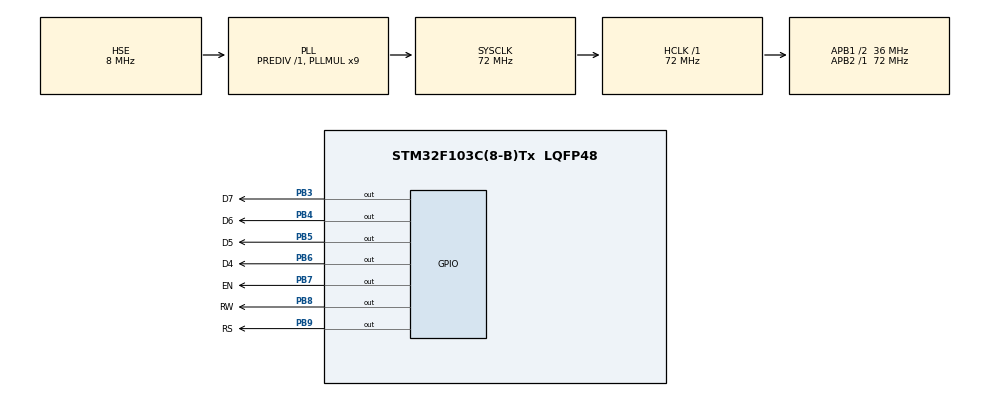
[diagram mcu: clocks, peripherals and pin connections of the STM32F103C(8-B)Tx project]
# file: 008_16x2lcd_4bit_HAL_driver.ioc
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Mcu.Family=STM32F1
Mcu.Name=STM32F103C(8-B)Tx
Mcu.Package=LQFP48
NVIC.PriorityGroup=NVIC_PRIORITYGROUP_4
PA13.Mode=Serial_Wire
PA13.Signal=SYS_JTMS-SWDIO
PA14.Mode=Serial_Wire
PA14.Signal=SYS_JTCK-SWCLK
PB3.GPIO_Label=D7
PB3.Signal=GPIO_Output
PB4.GPIO_Label=D6
PB4.Signal=GPIO_Output
PB5.GPIO_Label=D5
PB5.Signal=GPIO_Output
PB6.GPIO_Label=D4
PB6.Signal=GPIO_Output
PB7.GPIO_Label=EN
PB7.Signal=GPIO_Output
PB8.GPIO_Label=RW
PB8.Signal=GPIO_Output
PB9.GPIO_Label=RS
PB9.Signal=GPIO_Output
PD0-OSC_IN.Mode=HSE-External-Oscillator
PD0-OSC_IN.Signal=RCC_OSC_IN
PD1-OSC_OUT.Mode=HSE-External-Oscillator
PD1-OSC_OUT.Signal=RCC_OSC_OUT
ProjectManager.HeapSize=0x200
ProjectManager.StackSize=0x400
ProjectManager.TargetToolchain=STM32CubeIDE
RCC.AHBFreq_Value=72000000
RCC.APB1CLKDivider=RCC_HCLK_DIV2
RCC.APB1Freq_Value=36000000
RCC.APB1TimFreq_Value=72000000
RCC.APB2Freq_Value=72000000
RCC.APB2TimFreq_Value=72000000
RCC.HCLKFreq_Value=72000000
RCC.PLLMUL=RCC_PLL_MUL9
RCC.PLLSourceVirtual=RCC_PLLSOURCE_HSE
RCC.SYSCLKFreq_VALUE=72000000
RCC.SYSCLKSource=RCC_SYSCLKSOURCE_PLLCLK
RCC.USBFreq_Value=72000000
board=custom

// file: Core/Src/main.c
/* USER CODE BEGIN Header */
/**
  ******************************************************************************
  * @file           : main.c
  * @brief          : Main program body
  ******************************************************************************
  * @attention
  *
  * Copyright (c) 2024 STMicroelectronics.
  * All rights reserved.
  *
  * This software is licensed under terms that can be found in the LICENSE file
  * in the root directory of this software component.
  * If no LICENSE file comes with this software, it is provided AS-IS.
  *
  ******************************************************************************
  */
/* USER CODE END Header */
#include "main.h"

/* USER CODE BEGIN Includes */
#include "lcd.h"
/* USER CODE END Includes */

void SystemClock_Config(void);
static void MX_GPIO_Init(void);

int main(void)
{

  /* MCU Configuration--------------------------------------------------------*/

  /* Reset of all peripherals, Initializes the Flash interface and the Systick. */
  HAL_Init();

  /* Configure the system clock */
  SystemClock_Config();

  /* Initialize all configured peripherals */
  MX_GPIO_Init();
  /* USER CODE BEGIN 2 */
  LCD_t disp;
  disp.EN_port = EN_GPIO_Port;
  disp.EN_pin = EN_Pin;
  disp.RW_port = RW_GPIO_Port;
  disp.RW_pin = RW_Pin;
  disp.RS_port = RS_GPIO_Port;
  disp.RS_pin = RS_Pin;
  disp.D7_port = D7_GPIO_Port;
  disp.D7_pin = D7_Pin;
  disp.D6_port = D6_GPIO_Port;
  disp.D6_pin = D6_Pin;
  disp.D5_port = D5_GPIO_Port;
  disp.D5_pin = D5_Pin;
  disp.D4_port = D4_GPIO_Port;
  disp.D4_pin = D4_Pin;
  lcd_reset(&disp);
  uint8_t heart[8] = {	0b00000,
						0b01010,
						0b11111,
						0b11111,
						0b01110,
						0b00100,
						0b00000,
						0b00000	};
  /* USER CODE END 2 */

  /* Infinite loop */
  /* USER CODE BEGIN WHILE */
  while (1)
  {
	lcd_setDelay(&disp, 100);
	lcd_clearDisplay(&disp);
	lcd_setPattern(&disp, 0, heart);
	lcd_setEntryMode(&disp, 1, 0);
	lcd_displayCtrl(&disp, LCD_DISPLAY_ON);
	lcd_showCursor(&disp, LCD_SHOW_CURSOR);
	lcd_cursorBlink(&disp, LCD_BLINK_ON);
	lcd_setCursor(&disp, 0, 0);
	lcd_printMsg(&disp, "Hello World!");
	lcd_cursorShift(&disp, LCD_SHIFT_RIGHT);
	lcd_printChar(&disp, 0);
	lcd_displayShift(&disp, LCD_SHIFT_RIGHT);
	HAL_Delay(5000);
    /* USER CODE END WHILE */

  }
}

void SystemClock_Config(void)
{
  RCC_OscInitTypeDef RCC_OscInitStruct = {0};
  RCC_ClkInitTypeDef RCC_ClkInitStruct = {0};

  /** Initializes the RCC Oscillators according to the specified parameters
  * in the RCC_OscInitTypeDef structure.
  */
  RCC_OscInitStruct.OscillatorType = RCC_OSCILLATORTYPE_HSE;
  RCC_OscInitStruct.HSEState = RCC_HSE_ON;
  RCC_OscInitStruct.HSEPredivValue = RCC_HSE_PREDIV_DIV1;
  RCC_OscInitStruct.HSIState = RCC_HSI_ON;
  RCC_OscInitStruct.PLL.PLLState = RCC_PLL_ON;
  RCC_OscInitStruct.PLL.PLLSource = RCC_PLLSOURCE_HSE;
  RCC_OscInitStruct.PLL.PLLMUL = RCC_PLL_MUL9;
  if (HAL_RCC_OscConfig(&RCC_OscInitStruct) != HAL_OK)
  {
    Error_Handler();
  }

  /** Initializes the CPU, AHB and APB buses clocks
  */
  RCC_ClkInitStruct.ClockType = RCC_CLOCKTYPE_HCLK|RCC_CLOCKTYPE_SYSCLK
                              |RCC_CLOCKTYPE_PCLK1|RCC_CLOCKTYPE_PCLK2;
  RCC_ClkInitStruct.SYSCLKSource = RCC_SYSCLKSOURCE_PLLCLK;
  RCC_ClkInitStruct.AHBCLKDivider = RCC_SYSCLK_DIV1;
  RCC_ClkInitStruct.APB1CLKDivider = RCC_HCLK_DIV2;
  RCC_ClkInitStruct.APB2CLKDivider = RCC_HCLK_DIV1;

  if (HAL_RCC_ClockConfig(&RCC_ClkInitStruct, FLASH_LATENCY_2) != HAL_OK)
  {
    Error_Handler();
  }
}

static void MX_GPIO_Init(void)
{
  GPIO_InitTypeDef GPIO_InitStruct = {0};

  /* GPIO Ports Clock Enable */
  __HAL_RCC_GPIOD_CLK_ENABLE();
  __HAL_RCC_GPIOA_CLK_ENABLE();
  __HAL_RCC_GPIOB_CLK_ENABLE();

  /*Configure GPIO pin Output Level */
  HAL_GPIO_WritePin(GPIOB, D7_Pin|D6_Pin|D5_Pin|D4_Pin
                          |EN_Pin|RW_Pin|RS_Pin, GPIO_PIN_RESET);

  /*Configure GPIO pins : D7_Pin D6_Pin D5_Pin D4_Pin
                           EN_Pin RW_Pin RS_Pin */
  GPIO_InitStruct.Pin = D7_Pin|D6_Pin|D5_Pin|D4_Pin
                          |EN_Pin|RW_Pin|RS_Pin;
  GPIO_InitStruct.Mode = GPIO_MODE_OUTPUT_PP;
  GPIO_InitStruct.Pull = GPIO_NOPULL;
  GPIO_InitStruct.Speed = GPIO_SPEED_FREQ_LOW;
  HAL_GPIO_Init(GPIOB, &GPIO_InitStruct);

}

void Error_Handler(void)
{
  __disable_irq();
  while (1)
  {
  }
}
